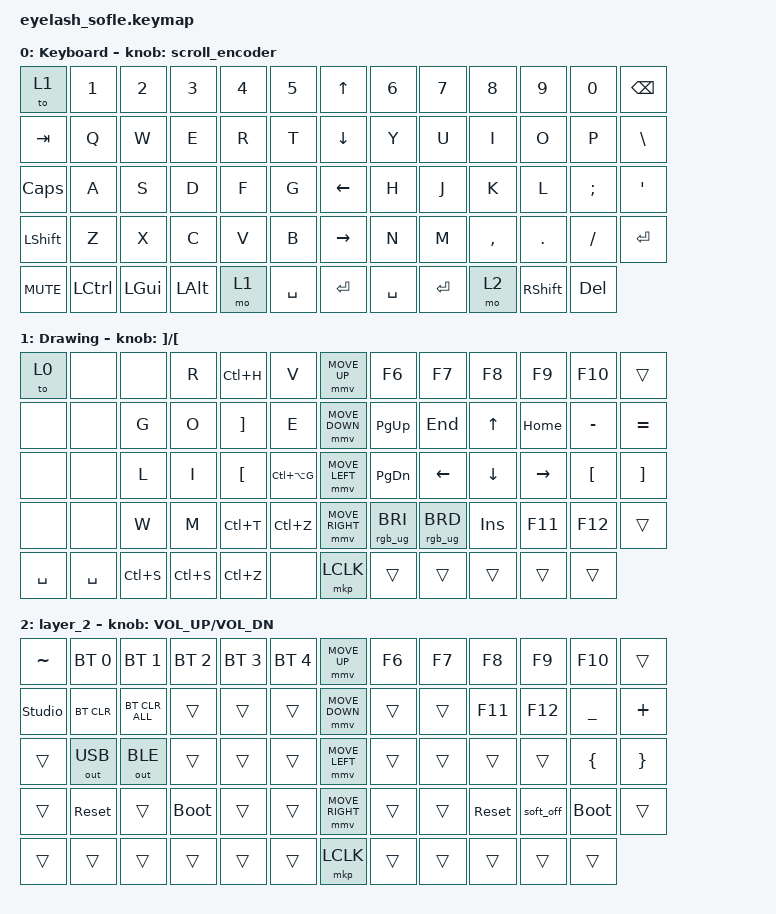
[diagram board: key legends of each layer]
#include <behaviors.dtsi>
#include <dt-bindings/zmk/bt.h>
#include <dt-bindings/zmk/keys.h>
#include <dt-bindings/zmk/mouse.h>
#include <dt-bindings/zmk/outputs.h>
#include <dt-bindings/zmk/rgb.h>

#include <input/processors.dtsi>

/*

   &mmv_input_listener {
       input-processors = <&zip_xy_scaler 2 1>;
   };

   &msc_input_listener {
       input-processors = <&zip_xy_scaler 2 1>;
   };

 */

#define ZMK_MOUSE_DEFAULT_MOVE_VAL 1200  // 600
#define ZMK_MOUSE_DEFAULT_SCRL_VAL 20    // 10


/ {
    behaviors {
        mmv {
            acceleration-exponent = <1>;      // 1
            time-to-max-speed-ms = <900>;    // 40
            delay-ms = <0>;                   // 0
        };

        msc {
            acceleration-exponent = <1>;      // 0
            time-to-max-speed-ms = <400>;      // 500
            delay-ms = <0>;                   //   10
        };
    };

    scroll_encoder: scroll_encoder {
        compatible = "zmk,behavior-sensor-rotate";
        #sensor-binding-cells = <0>;
        bindings = <&msc SCRL_DOWN>, <&msc SCRL_UP>;

        tap-ms = <30>;
    };

    keymap {
        compatible = "zmk,keymap";

        layer0 {
            bindings = <
&to 1       &kp N1     &kp N2        &kp N3        &kp N4  &kp N5       &kp UP_ARROW     &kp N6     &kp N7     &kp N8     &kp N9           &kp N0      &kp BACKSPACE
&kp TAB     &kp Q      &kp W         &kp E         &kp R   &kp T        &kp DOWN_ARROW   &kp Y      &kp U      &kp I      &kp O            &kp P       &kp BSLH
&kp CAPS    &kp A      &kp S         &kp D         &kp F   &kp G        &kp LEFT_ARROW   &kp H      &kp J      &kp K      &kp L            &kp SEMI    &kp APOS
&kp LSHFT   &kp Z      &kp X         &kp C         &kp V   &kp B        &kp RIGHT_ARROW  &kp N      &kp M      &kp COMMA  &kp DOT          &kp FSLH    &kp ENTER
&kp C_MUTE  &kp LCTRL  &kp LEFT_GUI  &kp LEFT_ALT  &mo 1   &kp SPACE    &kp ENTER        &kp SPACE  &kp ENTER  &mo 2      &kp RIGHT_SHIFT  &kp DELETE
            >;

            sensor-bindings = <&scroll_encoder>;
            display-name = "Keyboard";
        };

        layer_1 {
            bindings = <
&to 0       &none       &none           &kp R            &kp LC(H)        &kp V              &mmv MOVE_UP     &kp F6           &kp F7           &kp F8      &kp F9     &kp F10           &trans
&none       &none       &kp G           &kp O            &kp RBKT         &kp E              &mmv MOVE_DOWN   &kp PG_UP        &kp END          &kp UP      &kp HOME   &kp MINUS         &kp EQUAL
&none       &none       &kp L           &kp I            &kp LBKT         &kp LC(LA(G))      &mmv MOVE_LEFT   &kp PG_DN        &kp LEFT         &kp DOWN    &kp RIGHT  &kp LEFT_BRACKET  &kp RIGHT_BRACKET
&none       &none       &kp W           &kp M            &kp LC(T)        &kp LC(Z)          &mmv MOVE_RIGHT  &rgb_ug RGB_BRI  &rgb_ug RGB_BRD  &kp INSERT  &kp F11    &kp F12           &trans
&kp SPACE   &kp SPACE   &kp LC(S)       &kp LC(S)        &kp LC(Z)        &none              &mkp LCLK        &trans           &trans           &trans      &trans     &trans
            >;

            display-name = "Drawing";
            sensor-bindings = <&inc_dec_kp RBKT LBKT>;
        };

        layer_2 {
            bindings = <
&kp TILDE  &bt BT_SEL 0  &bt BT_SEL 1    &bt BT_SEL 2  &bt BT_SEL 3  &bt BT_SEL 4    &mmv MOVE_UP     &kp F6  &kp F7  &kp F8      &kp F9     &kp F10      &trans
&studio_unlock      &bt BT_CLR    &bt BT_CLR_ALL  &trans        &trans        &trans          &mmv MOVE_DOWN   &trans  &trans  &kp F11     &kp F12    &kp UNDER    &kp PLUS
&trans     &out OUT_USB  &out OUT_BLE    &trans        &trans        &trans          &mmv MOVE_LEFT   &trans  &trans  &trans      &trans     &kp LBRC     &kp RBRC
&trans     &sys_reset    &trans          &bootloader   &trans        &trans          &mmv MOVE_RIGHT  &trans  &trans  &sys_reset  &soft_off  &bootloader  &trans
&trans     &trans        &trans          &trans        &trans        &trans          &mkp LCLK        &trans  &trans  &trans      &trans     &trans
            >;

            sensor-bindings = <&inc_dec_kp C_VOLUME_UP C_VOL_DN>;
        };
    };
};
